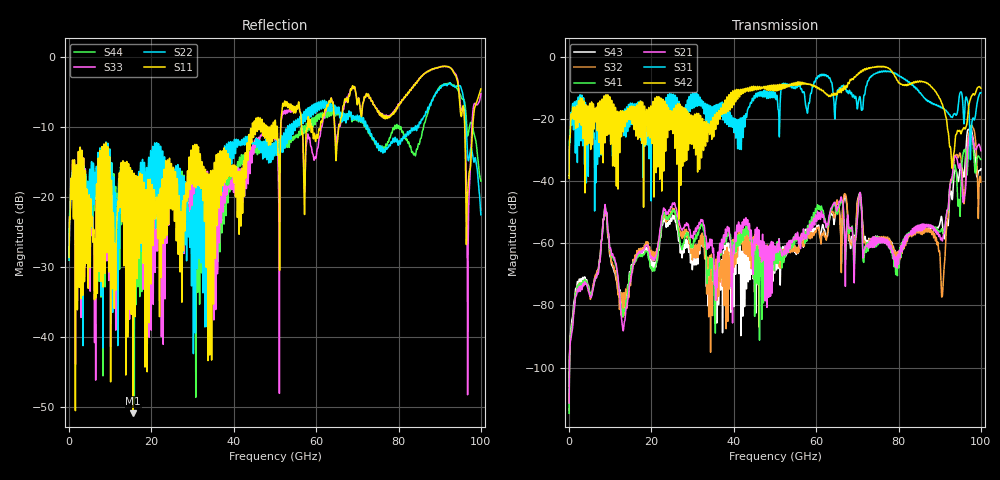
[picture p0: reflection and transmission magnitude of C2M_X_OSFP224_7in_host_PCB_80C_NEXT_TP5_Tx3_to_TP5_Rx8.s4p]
# GHz S RI R 45
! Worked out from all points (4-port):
!   4000 points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, 25 MHz to 100 GHz, reference 45 ohm
!   strongest paths, dB at 25 MHz, 25.02 GHz, 50.02 GHz, 75.03 GHz, 100 GHz:
!     S42: -39.1, -17.4, -10.9, -3.3, -10.1
!     S31: -38.4, -15.7, -11.5, -5.0, -11.6
!     S21: -111.4, -47.7, -61.1, -58.3, -30.3
!     S41: -114.7, -50.0, -61.5, -60.0, -33.0
!     S32: -113.9, -49.5, -62.8, -58.2, -40.3
!     S43: -106.0, -51.7, -64.1, -59.5, -36.1
!   lowest |S11| = -50.8 dB at 15.55 GHz (marker M1), VSWR 1.01, Z = 45.1 + j0.253 ohm
!   |S11| at or under -10 dB: start of sweep to 44.48 GHz; 59.1 GHz to 61.02 GHz (1.918 GHz wide, 3.19 % of centre); 96.08 GHz to 98 GHz (1.927 GHz wide, 1.99 % of centre) (the widest 3 of 20)
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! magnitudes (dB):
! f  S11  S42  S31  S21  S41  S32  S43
! 25 MHz  -28.6  -39.1  -38.4  -111.4  -114.7  -113.9  -106.0
! 8.75 GHz  -25.8  -26.1  -24.8  -47.6  -47.7  -47.9  -48.1
! 15.55 GHz  -50.8  -16.1  -20.4  -67.1  -66.3  -65.9  -65.3
! 67 GHz  -6.0  -10.4  -9.9  -62.3  -62.8  -44.1  -44.5
! 90.67 GHz  -1.4  -15.4  -16.5  -59.2  -56.5  -76.7  -54.4
! 93.85 GHz  -2.7  -25.5  -18.7  -32.1  -35.7  -31.7  -36.5
! 100 GHz  -4.6  -10.1  -11.6  -30.3  -33.0  -40.3  -36.1
